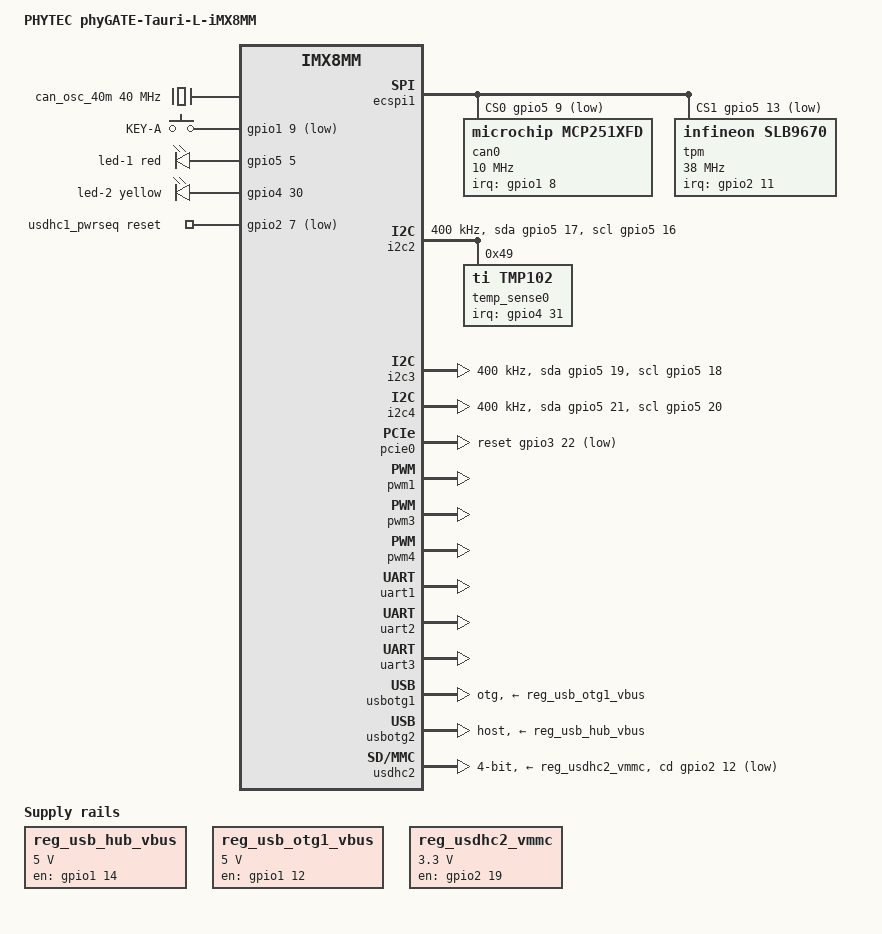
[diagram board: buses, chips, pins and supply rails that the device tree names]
// SPDX-License-Identifier: (GPL-2.0+ OR MIT)
/*
 * Copyright (C) 2023 PHYTEC Messtechnik GmbH
 */

/dts-v1/;

#include <dt-bindings/input/linux-event-codes.h>
#include <dt-bindings/leds/common.h>
#include "imx8mm-phycore-som.dtsi"

/ {
	model = "PHYTEC phyGATE-Tauri-L-iMX8MM";
	compatible = "phytec,imx8mm-phygate-tauri-l",
		     "phytec,imx8mm-phycore-som", "fsl,imx8mm";

	chosen {
		stdout-path = &uart3;
	};

	can_osc_40m: clock-can {
		compatible = "fixed-clock";
		clock-frequency = <40000000>;
		clock-output-names = "can_osc_40m";
		#clock-cells = <0>;
	};

	gpio-keys {
		compatible = "gpio-keys";
		pinctrl-names = "default";
		pinctrl-0 = <&pinctrl_gpiokeys>;

		key {
			gpios = <&gpio1 9 GPIO_ACTIVE_LOW>;
			label = "KEY-A";
			linux,code = <KEY_A>;
		};
	};

	leds {
		compatible = "gpio-leds";
		pinctrl-names = "default";
		pinctrl-0 = <&pinctrl_leds>;

		led-1 {
			color = <LED_COLOR_ID_RED>;
			gpios = <&gpio5 5 GPIO_ACTIVE_HIGH>;
			linux,default-trigger = "none";
		};

		led-2 {
			color = <LED_COLOR_ID_YELLOW>;
			gpios = <&gpio4 30 GPIO_ACTIVE_HIGH>;
			linux,default-trigger = "none";
		};
	};

	usdhc1_pwrseq: pwr-seq {
		compatible = "mmc-pwrseq-simple";
		post-power-on-delay-ms = <100>;
		power-off-delay-us = <60>;
		reset-gpios = <&gpio2 7 GPIO_ACTIVE_LOW>;
	};

	reg_usb_hub_vbus: regulator-hub-otg1 {
		compatible = "regulator-fixed";
		gpio = <&gpio1 14 GPIO_ACTIVE_HIGH>;
		enable-active-high;
		pinctrl-names = "default";
		pinctrl-0 = <&pinctrl_usbhubpwr>;
		regulator-name = "usb_hub_vbus";
		regulator-max-microvolt = <5000000>;
		regulator-min-microvolt = <5000000>;
	};

	reg_usb_otg1_vbus: regulator-usb-otg1 {
		compatible = "regulator-fixed";
		gpio = <&gpio1 12 GPIO_ACTIVE_HIGH>;
		enable-active-high;
		pinctrl-names = "default";
		pinctrl-0 = <&pinctrl_usbotg1pwr>;
		regulator-name = "usb_otg1_vbus";
		regulator-max-microvolt = <5000000>;
		regulator-min-microvolt = <5000000>;
	};

	reg_usdhc2_vmmc: regulator-usdhc2 {
		compatible = "regulator-fixed";
		gpio = <&gpio2 19 GPIO_ACTIVE_HIGH>;
		enable-active-high;
		off-on-delay-us = <20000>;
		pinctrl-names = "default";
		pinctrl-0 = <&pinctrl_reg_usdhc2_vmmc>;
		regulator-max-microvolt = <3300000>;
		regulator-min-microvolt = <3300000>;
		regulator-name = "VSD_3V3";
	};
};

&ecspi1 {
	cs-gpios = <&gpio5 9 GPIO_ACTIVE_LOW>,
		   <&gpio5 13 GPIO_ACTIVE_LOW>,
		   <&gpio5 2 GPIO_ACTIVE_LOW>;
	pinctrl-names = "default";
	pinctrl-0 = <&pinctrl_ecspi1 &pinctrl_ecspi1_cs>;
	#address-cells = <1>;
	#size-cells = <0>;
	status = "okay";

	/* CAN MCP251XFD */
	can0: can@0 {
		compatible = "microchip,mcp251xfd";
		reg = <0>;
		clocks = <&can_osc_40m>;
		interrupts = <8 IRQ_TYPE_LEVEL_LOW>;
		interrupt-parent = <&gpio1>;
		pinctrl-names = "default";
		pinctrl-0 = <&pinctrl_can_int>;
		spi-max-frequency = <10000000>;
	};

	tpm: tpm@1 {
		compatible = "infineon,slb9670", "tcg,tpm_tis-spi";
		interrupts = <11 IRQ_TYPE_LEVEL_LOW>;
		interrupt-parent = <&gpio2>;
		pinctrl-names = "default";
		pinctrl-0 = <&pinctrl_tpm>;
		reg = <1>;
		spi-max-frequency = <38000000>;
	};
};

&i2c2 {
	clock-frequency = <400000>;
	pinctrl-names = "default";
	pinctrl-0 = <&pinctrl_i2c2>;
	pinctrl-1 = <&pinctrl_i2c2_gpio>;
	scl-gpios = <&gpio5 16 (GPIO_ACTIVE_HIGH | GPIO_OPEN_DRAIN)>;
	sda-gpios = <&gpio5 17 (GPIO_ACTIVE_HIGH | GPIO_OPEN_DRAIN)>;
	status = "okay";

	temp_sense0: temperature-sensor@49 {
		compatible = "ti,tmp102";
		reg = <0x49>;
		interrupt-parent = <&gpio4>;
		interrupts = <31 IRQ_TYPE_LEVEL_LOW>;
		pinctrl-names = "default";
		pinctrl-0 = <&pinctrl_tempsense>;
		#thermal-sensor-cells = <1>;
	};
};

&i2c3 {
	clock-frequency = <400000>;
	pinctrl-names = "default";
	pinctrl-0 = <&pinctrl_i2c3>;
	pinctrl-1 = <&pinctrl_i2c3_gpio>;
	scl-gpios = <&gpio5 18 (GPIO_ACTIVE_HIGH | GPIO_OPEN_DRAIN)>;
	sda-gpios = <&gpio5 19 (GPIO_ACTIVE_HIGH | GPIO_OPEN_DRAIN)>;
	status = "okay";
};

&i2c4 {
	clock-frequency = <400000>;
	pinctrl-names = "default";
	pinctrl-0 = <&pinctrl_i2c4>;
	pinctrl-1 = <&pinctrl_i2c4_gpio>;
	scl-gpios = <&gpio5 20 (GPIO_ACTIVE_HIGH | GPIO_OPEN_DRAIN)>;
	sda-gpios = <&gpio5 21 (GPIO_ACTIVE_HIGH | GPIO_OPEN_DRAIN)>;
	status = "okay";
};

/* PCIe */
&pcie0 {
	assigned-clocks = <&clk IMX8MM_CLK_PCIE1_AUX>,
			  <&clk IMX8MM_CLK_PCIE1_PHY>,
			  <&clk IMX8MM_CLK_PCIE1_CTRL>;
	assigned-clock-parents = <&clk IMX8MM_SYS_PLL2_50M>,
				 <&clk IMX8MM_SYS_PLL2_100M>,
				 <&clk IMX8MM_SYS_PLL2_250M>;
	assigned-clock-rates = <10000000>, <100000000>, <250000000>;
	pinctrl-names = "default";
	pinctrl-0 = <&pinctrl_pcie>;
	reset-gpio = <&gpio3 22 GPIO_ACTIVE_LOW>;
	status = "okay";
};

&pwm1 {
	pinctrl-names = "default";
	pinctrl-0 = <&pinctrl_pwm1>;
	status = "okay";
};

&pwm3 {
	pinctrl-names = "default";
	pinctrl-0 = <&pinctrl_pwm3>;
	status = "okay";
};

&pwm4 {
	pinctrl-names = "default";
	pinctrl-0 = <&pinctrl_pwm4>;
	status = "okay";
};

/* RTC */
&rv3028 {
	trickle-resistor-ohms = <3000>;
};

&uart1 {
	assigned-clocks = <&clk IMX8MM_CLK_UART1>;
	assigned-clock-parents = <&clk IMX8MM_SYS_PLL1_80M>;
	pinctrl-names = "default";
	pinctrl-0 = <&pinctrl_uart1>;
	status = "okay";
};

/* UART2 - RS232 */
&uart2 {
	assigned-clocks = <&clk IMX8MM_CLK_UART2>;
	assigned-clock-parents = <&clk IMX8MM_SYS_PLL1_80M>;
	pinctrl-names = "default";
	pinctrl-0 = <&pinctrl_uart2>;
	status = "okay";
};

/* UART - console */
&uart3 {
	pinctrl-names = "default";
	pinctrl-0 = <&pinctrl_uart3>;
	status = "okay";
};

/* USB */
&usbotg1 {
	adp-disable;
	dr_mode = "otg";
	over-current-active-low;
	samsung,picophy-pre-emp-curr-control = <3>;
	samsung,picophy-dc-vol-level-adjust = <7>;
	pinctrl-names = "default";
	pinctrl-0 = <&pinctrl_usbotg1>;
	srp-disable;
	vbus-supply = <&reg_usb_otg1_vbus>;
	status = "okay";
};

&usbotg2 {
	disable-over-current;
	dr_mode = "host";
	samsung,picophy-pre-emp-curr-control = <3>;
	samsung,picophy-dc-vol-level-adjust = <7>;
	vbus-supply = <&reg_usb_hub_vbus>;
	status = "okay";
};

/* SD-Card */
&usdhc2 {
	assigned-clocks = <&clk IMX8MM_CLK_USDHC2>;
	assigned-clock-rates = <200000000>;
	bus-width = <4>;
	cd-gpios = <&gpio2 12 GPIO_ACTIVE_LOW>;
	disable-wp;
	pinctrl-names = "default", "state_100mhz", "state_200mhz";
	pinctrl-0 = <&pinctrl_usdhc2>, <&pinctrl_usdhc2_gpio>;
	pinctrl-1 = <&pinctrl_usdhc2_100mhz>, <&pinctrl_usdhc2_gpio>;
	pinctrl-2 = <&pinctrl_usdhc2_200mhz>, <&pinctrl_usdhc2_gpio>;
	vmmc-supply = <&reg_usdhc2_vmmc>;
	vqmmc-supply = <&reg_nvcc_sd2>;
	status = "okay";
};

&iomuxc {
	pinctrl_can_int: can-intgrp {
		fsl,pins = <
			MX8MM_IOMUXC_GPIO1_IO08_GPIO1_IO8	0x00
		>;
	};

	pinctrl_ecspi1: ecspi1grp {
		fsl,pins = <
			MX8MM_IOMUXC_ECSPI1_MISO_ECSPI1_MISO	0x82
			MX8MM_IOMUXC_ECSPI1_MOSI_ECSPI1_MOSI	0x82
			MX8MM_IOMUXC_ECSPI1_SCLK_ECSPI1_SCLK	0x82
		>;
	};

	pinctrl_ecspi1_cs: ecspi1csgrp {
		fsl,pins = <
			MX8MM_IOMUXC_ECSPI1_SS0_GPIO5_IO9	0x00
			MX8MM_IOMUXC_ECSPI2_SS0_GPIO5_IO13	0x00
			MX8MM_IOMUXC_SAI3_MCLK_GPIO5_IO2	0x00
		>;
	};

	pinctrl_gpiokeys: keygrp {
		fsl,pins = <
			MX8MM_IOMUXC_GPIO1_IO09_GPIO1_IO9	0x00
		>;
	};

	pinctrl_i2c2: i2c2grp {
		fsl,pins = <
			MX8MM_IOMUXC_I2C2_SCL_I2C2_SCL	0x400001c2
			MX8MM_IOMUXC_I2C2_SDA_I2C2_SDA	0x400001c2
		>;
	};

	pinctrl_i2c2_gpio: i2c2gpiogrp {
		fsl,pins = <
			MX8MM_IOMUXC_I2C2_SDA_GPIO5_IO17		0x1e0
			MX8MM_IOMUXC_I2C2_SCL_GPIO5_IO16		0x1e0
		>;
	};


	pinctrl_i2c3: i2c3grp {
		fsl,pins = <
			MX8MM_IOMUXC_I2C3_SCL_I2C3_SCL	0x400001c2
			MX8MM_IOMUXC_I2C3_SDA_I2C3_SDA	0x400001c2
		>;
	};

	pinctrl_i2c3_gpio: i2c3gpiogrp {
		fsl,pins = <
			MX8MM_IOMUXC_I2C3_SDA_GPIO5_IO19		0x1e0
			MX8MM_IOMUXC_I2C3_SCL_GPIO5_IO18		0x1e0
		>;
	};

	pinctrl_i2c4: i2c4grp {
		fsl,pins = <
			MX8MM_IOMUXC_I2C4_SCL_I2C4_SCL	0x400001c2
			MX8MM_IOMUXC_I2C4_SDA_I2C4_SDA	0x400001c2
		>;
	};

	pinctrl_i2c4_gpio: i2c4gpiogrp {
		fsl,pins = <
			MX8MM_IOMUXC_I2C4_SDA_GPIO5_IO21		0x1e0
			MX8MM_IOMUXC_I2C4_SCL_GPIO5_IO20		0x1e0
		>;
	};

	pinctrl_leds: leds1grp {
		fsl,pins = <
			MX8MM_IOMUXC_SAI3_RXD_GPIO4_IO30	0x00
			MX8MM_IOMUXC_SPDIF_EXT_CLK_GPIO5_IO5	0x00
		>;
	};

	pinctrl_pcie: pciegrp {
		fsl,pins = <
			/* COEX2 */
			MX8MM_IOMUXC_SAI5_RXD1_GPIO3_IO22	0x00
			/* COEX1 */
			MX8MM_IOMUXC_SAI1_TXD0_GPIO4_IO12	0x12
		>;
	};

	pinctrl_pwm1: pwm1grp {
		fsl,pins = <
			MX8MM_IOMUXC_GPIO1_IO01_PWM1_OUT	0x40
		>;
	};

	pinctrl_pwm3: pwm3grp {
		fsl,pins = <
			MX8MM_IOMUXC_SPDIF_TX_PWM3_OUT		0x40
		>;
	};

	pinctrl_pwm4: pwm4grp {
		fsl,pins = <
			MX8MM_IOMUXC_GPIO1_IO15_PWM4_OUT	0x40
		>;
	};

	pinctrl_reg_usdhc2_vmmc: regusdhc2vmmcgrp {
		fsl,pins = <
			MX8MM_IOMUXC_SD2_RESET_B_GPIO2_IO19     0x40
		>;
	};

	pinctrl_tempsense: tempsensegrp {
		fsl,pins = <
			MX8MM_IOMUXC_SAI3_TXFS_GPIO4_IO31	0x00
		>;
	};

	pinctrl_tpm: tpmgrp {
		fsl,pins = <
			MX8MM_IOMUXC_SD1_STROBE_GPIO2_IO11	0x140
		>;
	};

	pinctrl_uart1: uart1grp {
		fsl,pins = <
			MX8MM_IOMUXC_UART1_TXD_UART1_DCE_TX	0x00
			MX8MM_IOMUXC_UART1_RXD_UART1_DCE_RX	0x00
		>;
	};

	pinctrl_uart2: uart2grp {
		fsl,pins = <
			MX8MM_IOMUXC_UART2_TXD_UART2_DCE_TX	0x00
			MX8MM_IOMUXC_UART2_RXD_UART2_DCE_RX	0x00
		>;
	};

	pinctrl_uart3: uart3grp {
		fsl,pins = <
			MX8MM_IOMUXC_UART3_RXD_UART3_DCE_RX	0x140
			MX8MM_IOMUXC_UART3_TXD_UART3_DCE_TX	0x140
		>;
	};

	pinctrl_usbhubpwr: usbhubpwrgrp {
		fsl,pins = <
			MX8MM_IOMUXC_GPIO1_IO14_GPIO1_IO14	0x00
		>;
	};

	pinctrl_usbotg1pwr: usbotg1pwrgrp {
		fsl,pins = <
			MX8MM_IOMUXC_GPIO1_IO12_GPIO1_IO12	0x00
		>;
	};

	pinctrl_usbotg1: usbotg1grp {
		fsl,pins = <
			MX8MM_IOMUXC_GPIO1_IO13_USB1_OTG_OC	0x80
		>;
	};

	pinctrl_usdhc1: usdhc1grp {
		fsl,pins = <
			MX8MM_IOMUXC_SD1_CLK_USDHC1_CLK		0x182
			MX8MM_IOMUXC_SD1_CMD_USDHC1_CMD		0xc6
			MX8MM_IOMUXC_SD1_DATA0_USDHC1_DATA0	0xc6
			MX8MM_IOMUXC_SD1_DATA1_USDHC1_DATA1	0xc6
			MX8MM_IOMUXC_SD1_DATA2_USDHC1_DATA2	0xc6
			MX8MM_IOMUXC_SD1_DATA3_USDHC1_DATA3	0xc6
		>;
	};

	pinctrl_usdhc2_gpio: usdhc2gpiogrp {
		fsl,pins = <
			MX8MM_IOMUXC_SD2_CD_B_GPIO2_IO12	0x40
		>;
	};

	pinctrl_usdhc2: usdhc2grp {
		fsl,pins = <
			MX8MM_IOMUXC_GPIO1_IO04_USDHC2_VSELECT	0x1d0
			MX8MM_IOMUXC_SD2_CLK_USDHC2_CLK		0x192
			MX8MM_IOMUXC_SD2_CMD_USDHC2_CMD		0x1d2
			MX8MM_IOMUXC_SD2_DATA0_USDHC2_DATA0	0x1d2
			MX8MM_IOMUXC_SD2_DATA1_USDHC2_DATA1	0x1d2
			MX8MM_IOMUXC_SD2_DATA2_USDHC2_DATA2	0x1d2
			MX8MM_IOMUXC_SD2_DATA3_USDHC2_DATA3	0x1d2
		>;
	};

	pinctrl_usdhc2_100mhz: usdhc2100mhzgrp {
		fsl,pins = <
			MX8MM_IOMUXC_GPIO1_IO04_USDHC2_VSELECT	0x1d0
			MX8MM_IOMUXC_SD2_CLK_USDHC2_CLK		0x194
			MX8MM_IOMUXC_SD2_CMD_USDHC2_CMD		0x1d4
			MX8MM_IOMUXC_SD2_DATA0_USDHC2_DATA0	0x1d4
			MX8MM_IOMUXC_SD2_DATA1_USDHC2_DATA1	0x1d4
			MX8MM_IOMUXC_SD2_DATA2_USDHC2_DATA2	0x1d4
			MX8MM_IOMUXC_SD2_DATA3_USDHC2_DATA3	0x1d4
		>;
	};

	pinctrl_usdhc2_200mhz: usdhc2200mhzgrp {
		fsl,pins = <
			MX8MM_IOMUXC_GPIO1_IO04_USDHC2_VSELECT	0x1d0
			MX8MM_IOMUXC_SD2_CLK_USDHC2_CLK		0x196
			MX8MM_IOMUXC_SD2_CMD_USDHC2_CMD		0x1d6
			MX8MM_IOMUXC_SD2_DATA0_USDHC2_DATA0	0x1d6
			MX8MM_IOMUXC_SD2_DATA1_USDHC2_DATA1	0x1d6
			MX8MM_IOMUXC_SD2_DATA2_USDHC2_DATA2	0x1d6
			MX8MM_IOMUXC_SD2_DATA3_USDHC2_DATA3	0x1d6
		>;
	};
};
